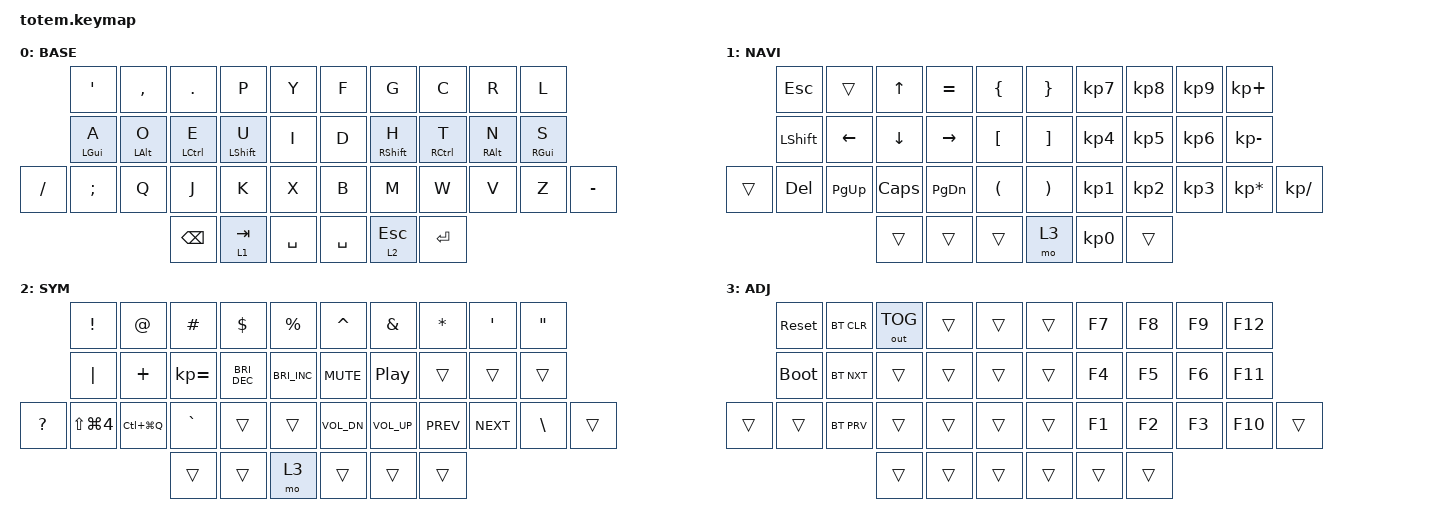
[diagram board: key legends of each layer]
//
//                                                        ▀▀▀▀▀     ▀▀▀▀▀          ▀▀█▀▀
//                                                        ▄▀▀▀▄  ▄  ▄▀▀▀▄  ▄  ▄▀▀▀▄  █  ▄▀▀▀▄
//                                                        █   █  █  █   █  █  █   █  █  █   █
//                                                         ▀▀▀   █   ▀▀▀   █   ▀▀▀   ▀   ▀▀▀
//                                                               █      ▄▄▄█▄▄▄    █   █  
//                                                               ▀      █  █  █     █▄█
//                                                             ▀▀▀▀▀    █  █  █      ▀
//                                                                      ▀  ▀  ▀
//
// ▄▄▄▄▄▄▄▄▄▄▄▄▄▄▄▄▄▄▄▄▄▄▄▄▄▄▄▄▄▄▄▄▄▄▄▄▄▄▄▄▄▄▄▄▄▄▄▄▄▄▄▄▄▄▄▄▄▄▄▄▄▄▄▄▄▄▄▄▄▄▄▄▄▄▄▄▄▄▄▄▄▄▄▄▄▄▄▄▄▄▄▄▄▄▄▄▄▄▄▄▄▄▄▄▄▄▄▄▄▄▄▄▄▄▄▄▄▄▄▄▄▄▄▄▄▄▄▄▄▄▄▄▄▄▄▄▄▄▄▄▄▄▄▄▄▄▄▄▄

#include <behaviors.dtsi>
#include <dt-bindings/zmk/bt.h>
#include <dt-bindings/zmk/keys.h>
#include <dt-bindings/zmk/outputs.h>

#define BASE 0
#define NAV  1
#define SYM  2
#define ADJ  3
#define TVP1 4
#define TVP2 5

&mt {
    quick-tap-ms = <0>;
    require-prior-idle-ms = <125>;
    flavor = "tap-preferred";
};

/ {
    combos { compatible = "zmk,combos"; };

    keymap {
        compatible = "zmk,keymap";

        // ▄▄▄▄▄▄▄▄▄▄▄▄▄▄▄▄▄▄▄▄▄▄▄▄▄▄▄▄▄▄▄▄▄▄▄▄▄▄▄▄▄▄▄▄▄▄▄▄▄▄▄▄▄▄▄▄▄▄▄▄▄▄▄▄▄▄▄▄▄▄▄▄▄▄▄▄▄▄▄▄▄▄▄▄▄▄▄▄▄▄▄▄▄▄▄▄▄▄▄▄▄▄▄▄▄▄▄▄▄▄▄▄▄▄▄▄▄▄▄▄▄▄▄▄▄▄▄▄▄▄▄▄▄▄▄▄▄▄▄▄▄▄▄▄▄▄▄▄▄

        base_layer {
            // ┏━━━━━━━━━━━━━━━━━━━━━━━━━━━━━━━━━━━━━━━┓

            display-name = "BASE";

            // ┗━━━━━━━━━━━━━━━━━━━━━━━━━━━━━━━━━━━━━━━┛
            //             ┏━━━━━━━━━━━┳━━━━━━━━━━━┳━━━━━━━━━━━┳━━━━━━━━━━━┳━━━━━━━━━━━┓   ┏━━━━━━━━━━━┳━━━━━━━━━━━┳━━━━━━━━━━━┳━━━━━━━━━━━┳━━━━━━━━━━━┓
            //             ┃     Q     ┃     W     ┃     F     ┃     P     ┃     G     ┃   ┃     J     ┃     L     ┃     U     ┃     Y     ┃     ;     ┃
            //             ┣━━━━━━━━━━━╋━━━━━━━━━━━╋━━━━━━━━━━━╋━━━━━━━━━━━╋━━━━━━━━━━━┫   ┣━━━━━━━━━━━╋━━━━━━━━━━━╋━━━━━━━━━━━╋━━━━━━━━━━━╋━━━━━━━━━━━┫
            //             ┃     A     ┃     R     ┃     S     ┃     T     ┃     D     ┃   ┃     H     ┃     N     ┃     E     ┃     I     ┃     O     ┃
            // ┏━━━━━━━━━━━╋━━━━━━━━━━━╋━━━━━━━━━━━╋━━━━━━━━━━━╋━━━━━━━━━━━╋━━━━━━━━━━━┫   ┣━━━━━━━━━━━╋━━━━━━━━━━━╋━━━━━━━━━━━╋━━━━━━━━━━━╋━━━━━━━━━━━╋━━━━━━━━━━━┓
            // ┃     Q     ┃     Z     ┃     X     ┃     C     ┃     V     ┃     B     ┃   ┃     K     ┃     M     ┃     ,     ┃     .     ┃     /     ┃     \     ┃
            // ┗━━━━━━━━━━━┻━━━━━━━━━━━┻━━━━━━━━━━━╋━━━━━━━━━━━╋━━━━━━━━━━━╋━━━━━━━━━━━┫   ┣━━━━━━━━━━━╋━━━━━━━━━━━╋━━━━━━━━━━━╋━━━━━━━━━━━┻━━━━━━━━━━━┻━━━━━━━━━━━┛
            //                                     ┃    DEL    ┃    TAB    ┃    SPC    ┃   ┃   ENTER   ┃           ┃   BSPC    ┃
            //                                     ┗━━━━━━━━━━━┻━━━━━━━━━━━┻━━━━━━━━━━━┛   ┗━━━━━━━━━━━┻━━━━━━━━━━━┻━━━━━━━━━━━┛

            bindings = <
           &kp SQT        &kp COMMA   &kp PERIOD     &kp P        &kp Y        &kp F      &kp G        &kp C        &kp R       &kp L
           &mt LGUI A     &mt LALT O  &mt LCTRL E    &mt LSHFT U  &kp I        &kp D      &mt RSHFT H  &mt RCTRL T  &mt RALT N  &mt RGUI S
&kp SLASH  &kp SEMICOLON  &kp Q       &kp J          &kp K        &kp X        &kp B      &kp M        &kp W        &kp V       &kp Z       &kp MINUS
                                      &kp BACKSPACE  &lt 1 TAB    &kp SPACE    &kp SPACE  &lt 2 ESC    &kp ENTER
            >;
        };

        // ▄▄▄▄▄▄▄▄▄▄▄▄▄▄▄▄▄▄▄▄▄▄▄▄▄▄▄▄▄▄▄▄▄▄▄▄▄▄▄▄▄▄▄▄▄▄▄▄▄▄▄▄▄▄▄▄▄▄▄▄▄▄▄▄▄▄▄▄▄▄▄▄▄▄▄▄▄▄▄▄▄▄▄▄▄▄▄▄▄▄▄▄▄▄▄▄▄▄▄▄▄▄▄▄▄▄▄▄▄▄▄▄▄▄▄▄▄▄▄▄▄▄▄▄▄▄▄▄▄▄▄▄▄▄▄▄▄▄▄▄▄▄▄▄▄▄▄▄▄

        nav_layer {
            // ┏━━━━━━━━━━━━━━━━━━━━━━━━━━━━━━━━━━━━━━━┓

            display-name = "NAVI";

            // ┗━━━━━━━━━━━━━━━━━━━━━━━━━━━━━━━━━━━━━━━┛
            //             ┏━━━━━━━━━━━┳━━━━━━━━━━━┳━━━━━━━━━━━┳━━━━━━━━━━━┳━━━━━━━━━━━┓   ┏━━━━━━━━━━━┳━━━━━━━━━━━┳━━━━━━━━━━━┳━━━━━━━━━━━┳━━━━━━━━━━━┓
            //             ┃           ┃           ┃     UP    ┃           ┃     {     ┃   ┃     }     ┃     7     ┃     8     ┃     9     ┃     +     ┃
            //             ┣━━━━━━━━━━━╋━━━━━━━━━━━╋━━━━━━━━━━━╋━━━━━━━━━━━╋━━━━━━━━━━━┫   ┣━━━━━━━━━━━╋━━━━━━━━━━━╋━━━━━━━━━━━╋━━━━━━━━━━━╋━━━━━━━━━━━┫
            //             ┃   SHIFT   ┃   LEFT    ┃    DOWN   ┃   RIGHT   ┃     [     ┃   ┃     ]     ┃     4     ┃     5     ┃     6     ┃     -     ┃
            // ┏━━━━━━━━━━━╋━━━━━━━━━━━╋━━━━━━━━━━━╋━━━━━━━━━━━╋━━━━━━━━━━━╋━━━━━━━━━━━┫   ┣━━━━━━━━━━━╋━━━━━━━━━━━╋━━━━━━━━━━━╋━━━━━━━━━━━╋━━━━━━━━━━━╋━━━━━━━━━━━┓
            // ┃           ┃           ┃   P UP    ┃  C LOCK   ┃  P DOWN   ┃     (     ┃   ┃     )     ┃     1     ┃     2     ┃     3     ┃     *     ┃           ┃
            // ┗━━━━━━━━━━━┻━━━━━━━━━━━┻━━━━━━━━━━━╋━━━━━━━━━━━╋━━━━━━━━━━━╋━━━━━━━━━━━┫   ┣━━━━━━━━━━━╋━━━━━━━━━━━╋━━━━━━━━━━━╋━━━━━━━━━━━┻━━━━━━━━━━━┻━━━━━━━━━━━┛
            //                                     ┃           ┃    TAB    ┃    SPC    ┃   ┃    DEL    ┃     0     ┃           ┃
            //                                     ┗━━━━━━━━━━━┻━━━━━━━━━━━┻━━━━━━━━━━━┛   ┗━━━━━━━━━━━┻━━━━━━━━━━━┻━━━━━━━━━━━┛

            bindings = <
        &kp ESC    &trans     &kp UP    &kp EQUAL  &kp LBRC    &kp RBRC  &kp KP_N7  &kp KP_N8  &kp KP_N9  &kp KP_PLUS
        &kp LSHFT  &kp LEFT   &kp DOWN  &kp RIGHT  &kp LBKT    &kp RBKT  &kp KP_N4  &kp KP_N5  &kp KP_N6  &kp KP_MINUS
&trans  &kp DEL    &kp PG_UP  &kp CAPS  &kp PG_DN  &kp LPAR    &kp RPAR  &kp KP_N1  &kp KP_N2  &kp KP_N3  &kp KP_MULTIPLY  &kp KP_DIVIDE
                              &trans    &trans     &trans      &mo 3     &kp KP_N0  &trans
            >;
        };

        // ▄▄▄▄▄▄▄▄▄▄▄▄▄▄▄▄▄▄▄▄▄▄▄▄▄▄▄▄▄▄▄▄▄▄▄▄▄▄▄▄▄▄▄▄▄▄▄▄▄▄▄▄▄▄▄▄▄▄▄▄▄▄▄▄▄▄▄▄▄▄▄▄▄▄▄▄▄▄▄▄▄▄▄▄▄▄▄▄▄▄▄▄▄▄▄▄▄▄▄▄▄▄▄▄▄▄▄▄▄▄▄▄▄▄▄▄▄▄▄▄▄▄▄▄▄▄▄▄▄▄▄▄▄▄▄▄▄▄▄▄▄▄▄▄▄▄▄▄▄

        sim_layer {
            // ┏━━━━━━━━━━━━━━━━━━━━━━━━━━━━━━━━━━━━━━━┓

            display-name = "SYM";

            // ┗━━━━━━━━━━━━━━━━━━━━━━━━━━━━━━━━━━━━━━━┛
            //             ┏━━━━━━━━━━━┳━━━━━━━━━━━┳━━━━━━━━━━━┳━━━━━━━━━━━┳━━━━━━━━━━━┓   ┏━━━━━━━━━━━┳━━━━━━━━━━━┳━━━━━━━━━━━┳━━━━━━━━━━━┳━━━━━━━━━━━┓
            //             ┃     !     ┃     @     ┃     #     ┃     $     ┃     %     ┃   ┃     ˆ     ┃     &     ┃     Ü     ┃     '     ┃     "     ┃
            //             ┣━━━━━━━━━━━╋━━━━━━━━━━━╋━━━━━━━━━━━╋━━━━━━━━━━━╋━━━━━━━━━━━┫   ┣━━━━━━━━━━━╋━━━━━━━━━━━╋━━━━━━━━━━━╋━━━━━━━━━━━╋━━━━━━━━━━━┫
            //             ┃     Ä     ┃           ┃    SZ     ┃           ┃           ┃   ┃   MUTE    ┃   YEN     ┃   EURO    ┃  POUND    ┃     Ö     ┃
            // ┏━━━━━━━━━━━╋━━━━━━━━━━━╋━━━━━━━━━━━╋━━━━━━━━━━━╋━━━━━━━━━━━╋━━━━━━━━━━━┫   ┣━━━━━━━━━━━╋━━━━━━━━━━━╋━━━━━━━━━━━╋━━━━━━━━━━━╋━━━━━━━━━━━╋━━━━━━━━━━━┓
            // ┃           ┃  EMAIL1   ┃  EMAIL2   ┃           ┃           ┃           ┃   ┃   VOL-    ┃   VOL+    ┃   LAST    ┃   NEXT    ┃     \     ┃           ┃
            // ┗━━━━━━━━━━━┻━━━━━━━━━━━┻━━━━━━━━━━━╋━━━━━━━━━━━╋━━━━━━━━━━━╋━━━━━━━━━━━┫   ┣━━━━━━━━━━━╋━━━━━━━━━━━╋━━━━━━━━━━━╋━━━━━━━━━━━┻━━━━━━━━━━━┻━━━━━━━━━━━┛
            //                                     ┃           ┃           ┃    ADJ    ┃   ┃           ┃           ┃           ┃
            //                                     ┗━━━━━━━━━━━┻━━━━━━━━━━━┻━━━━━━━━━━━┛   ┗━━━━━━━━━━━┻━━━━━━━━━━━┻━━━━━━━━━━━┛

            bindings = <
              &kp EXCL              &kp AT         &kp HASH      &kp DLLR              &kp PRCNT               &kp CARET     &kp AMPS          &kp ASTERISK  &kp SQT     &kp DQT
              &kp PIPE              &kp PLUS       &kp KP_EQUAL  &kp C_BRIGHTNESS_DEC  &kp C_BRIGHTNESS_INC    &kp C_MUTE    &kp C_PLAY_PAUSE  &trans        &trans      &trans
&kp QUESTION  &kp LS(LG(NUMBER_4))  &kp LC(LG(Q))  &kp GRAVE     &trans                &trans                  &kp C_VOL_DN  &kp C_VOL_UP      &kp C_PREV    &kp C_NEXT  &kp BSLH  &trans
                                                   &trans        &trans                &mo 3                   &trans        &trans            &trans
            >;
        };

        // ▄▄▄▄▄▄▄▄▄▄▄▄▄▄▄▄▄▄▄▄▄▄▄▄▄▄▄▄▄▄▄▄▄▄▄▄▄▄▄▄▄▄▄▄▄▄▄▄▄▄▄▄▄▄▄▄▄▄▄▄▄▄▄▄▄▄▄▄▄▄▄▄▄▄▄▄▄▄▄▄▄▄▄▄▄▄▄▄▄▄▄▄▄▄▄▄▄▄▄▄▄▄▄▄▄▄▄▄▄▄▄▄▄▄▄▄▄▄▄▄▄▄▄▄▄▄▄▄▄▄▄▄▄▄▄▄▄▄▄▄▄▄▄▄▄▄▄▄▄

        adjust_layer {
            // ┏━━━━━━━━━━━━━━━━━━━━━━━━━━━━━━━━━━━━━━━┓

            display-name = "ADJ";

            // ┗━━━━━━━━━━━━━━━━━━━━━━━━━━━━━━━━━━━━━━━┛
            //             ┏━━━━━━━━━━━┳━━━━━━━━━━━┳━━━━━━━━━━━┳━━━━━━━━━━━┳━━━━━━━━━━━┓   ┏━━━━━━━━━━━┳━━━━━━━━━━━┳━━━━━━━━━━━┳━━━━━━━━━━━┳━━━━━━━━━━━┓
            //             ┃   RESET   ┃ BT CLEAR  ┃  OUT TOG  ┃           ┃           ┃   ┃           ┃    F7     ┃    F8     ┃    F9     ┃    F12    ┃
            //             ┣━━━━━━━━━━━╋━━━━━━━━━━━╋━━━━━━━━━━━╋━━━━━━━━━━━╋━━━━━━━━━━━┫   ┣━━━━━━━━━━━╋━━━━━━━━━━━╋━━━━━━━━━━━╋━━━━━━━━━━━╋━━━━━━━━━━━┫
            //             ┃ BOOTLOAD  ┃ BT NEXT   ┃           ┃           ┃           ┃   ┃           ┃    F4     ┃    F5     ┃    F6     ┃    F11    ┃
            // ┏━━━━━━━━━━━╋━━━━━━━━━━━╋━━━━━━━━━━━╋━━━━━━━━━━━╋━━━━━━━━━━━╋━━━━━━━━━━━┫   ┣━━━━━━━━━━━╋━━━━━━━━━━━╋━━━━━━━━━━━╋━━━━━━━━━━━╋━━━━━━━━━━━╋━━━━━━━━━━━┓
            // ┃           ┃           ┃ BT PREV   ┃           ┃           ┃           ┃   ┃           ┃    F1     ┃    F2     ┃    F3     ┃    F10    ┃           ┃
            // ┗━━━━━━━━━━━┻━━━━━━━━━━━┻━━━━━━━━━━━╋━━━━━━━━━━━╋━━━━━━━━━━━╋━━━━━━━━━━━┫   ┣━━━━━━━━━━━╋━━━━━━━━━━━╋━━━━━━━━━━━╋━━━━━━━━━━━┻━━━━━━━━━━━┻━━━━━━━━━━━┛
            //                                     ┃           ┃           ┃           ┃   ┃           ┃           ┃           ┃
            //                                     ┗━━━━━━━━━━━┻━━━━━━━━━━━┻━━━━━━━━━━━┛   ┗━━━━━━━━━━━┻━━━━━━━━━━━┻━━━━━━━━━━━┛

            bindings = <
        &sys_reset   &bt BT_CLR  &out OUT_TOG  &trans  &trans    &trans  &kp F7  &kp F8  &kp F9  &kp F12
        &bootloader  &bt BT_NXT  &trans        &trans  &trans    &trans  &kp F4  &kp F5  &kp F6  &kp F11
&trans  &trans       &bt BT_PRV  &trans        &trans  &trans    &trans  &kp F1  &kp F2  &kp F3  &kp F10  &trans
                                 &trans        &trans  &trans    &trans  &trans  &trans
            >;
        };

        // ▄▄▄▄▄▄▄▄▄▄▄▄▄▄▄▄▄▄▄▄▄▄▄▄▄▄▄▄▄▄▄▄▄▄▄▄▄▄▄▄▄▄▄▄▄▄▄▄▄▄▄▄▄▄▄▄▄▄▄▄▄▄▄▄▄▄▄▄▄▄▄▄▄▄▄▄▄▄▄▄▄▄▄▄▄▄▄▄▄▄▄▄▄▄▄▄▄▄▄▄▄▄▄▄▄▄▄▄▄▄▄▄▄▄▄▄▄▄▄▄▄▄▄▄▄▄▄▄▄▄▄▄▄▄▄▄▄▄▄▄▄▄▄▄▄▄▄▄▄
        // ▄▄▄▄▄▄▄▄▄▄▄▄▄▄▄▄▄▄▄▄▄▄▄▄▄▄▄▄▄▄▄▄▄▄▄▄▄▄▄▄▄▄▄▄▄▄▄▄▄▄▄▄▄▄▄▄▄▄▄▄▄▄▄▄▄▄▄▄▄▄▄▄▄▄▄▄▄▄▄▄▄▄▄▄▄▄▄▄▄▄▄▄▄▄▄▄▄▄▄▄▄▄▄▄▄▄▄▄▄▄▄▄▄▄▄▄▄▄▄▄▄▄▄▄▄▄▄▄▄▄▄▄▄▄▄▄▄▄▄▄▄▄▄▄▄▄▄▄▄
    };
};
